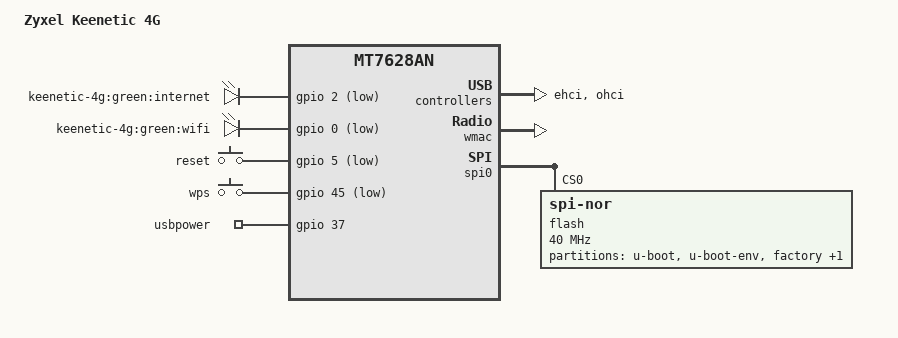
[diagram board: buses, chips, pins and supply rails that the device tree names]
// SPDX-License-Identifier: GPL-2.0-or-later
/dts-v1/;

#include "mt7628an.dtsi"

#include <dt-bindings/gpio/gpio.h>
#include <dt-bindings/input/input.h>

/ {
	compatible = "zyxel,keenetic-4g", "mediatek,mt7628an-soc";
	model = "Zyxel Keenetic 4G";

	aliases {
		led-boot = "/leds/power";
		led-failsafe = "/leds/power";
		led-running = "/leds/power";
		led-upgrade = "/leds/power";
	};

	chosen {
		bootargs = "console=ttyS0,115200";
	};

	leds {
		compatible = "gpio-leds";

		
		internet {
			label = "keenetic-4g:green:internet";
			gpios = <&gpio 2 GPIO_ACTIVE_LOW>;
			default-state = "keep";
		};

		
		wifi {
			label = "keenetic-4g:green:wifi";
			gpios = <&gpio 0 GPIO_ACTIVE_LOW>;
		};
		
    };
	
	keys {
		compatible = "gpio-keys-polled";
		poll-interval = <20>;

		reset {
            label = "reset";
            gpios = <&gpio 5 GPIO_ACTIVE_LOW>;
			linux,code = <KEY_RESTART>;
        };


		wps {
			label = "wps";
			gpios = <&gpio 45 GPIO_ACTIVE_LOW>;
			linux,code = <KEY_WPS_BUTTON>;
		};
    };
        
    gpio_export {
		compatible = "gpio-export";
		#size-cells = <0>;
        
		usbpower {
			gpio-export,name = "usbpower";
			gpio-export,output = <1>;
			gpios = <&gpio 37 GPIO_ACTIVE_HIGH>;
		};
	};
};

&state_default {
	gpio {
		groups = "gpio", "p0led_an", "wled_an", "i2s", "refclk", "perst", "wdt", "spi cs1";
		function = "gpio";
	};
};

&ehci {
	status = "okay";
};

&ohci {
	status = "okay";
};

&esw {
	mediatek,portmap = <0x3e>;
};

&wmac {
	status = "okay";
};

&ethernet {
	mtd-mac-address = <&factory 0x28>;
};

&spi0 {
	status = "okay";

	flash@0 {
		compatible = "jedec,spi-nor";
		reg = <0>;
		spi-max-frequency = <40000000>;

		partitions {
			compatible = "fixed-partitions";
			#address-cells = <1>;
			#size-cells = <1>;

			partition@0 {
				label = "u-boot";
				reg = <0x0 0x30000>;
				read-only;
			};

			partition@30000 {
				label = "u-boot-env";
				reg = <0x30000 0x10000>;
			};

			factory: partition@40000 {
				label = "factory";
				reg = <0x40000 0x10000>;
				read-only;
			};

			partition@50000 {
				compatible = "denx,uimage";
				label = "firmware";
				reg = <0x50000 0xfb0000>;
			};
		};
	};
};
